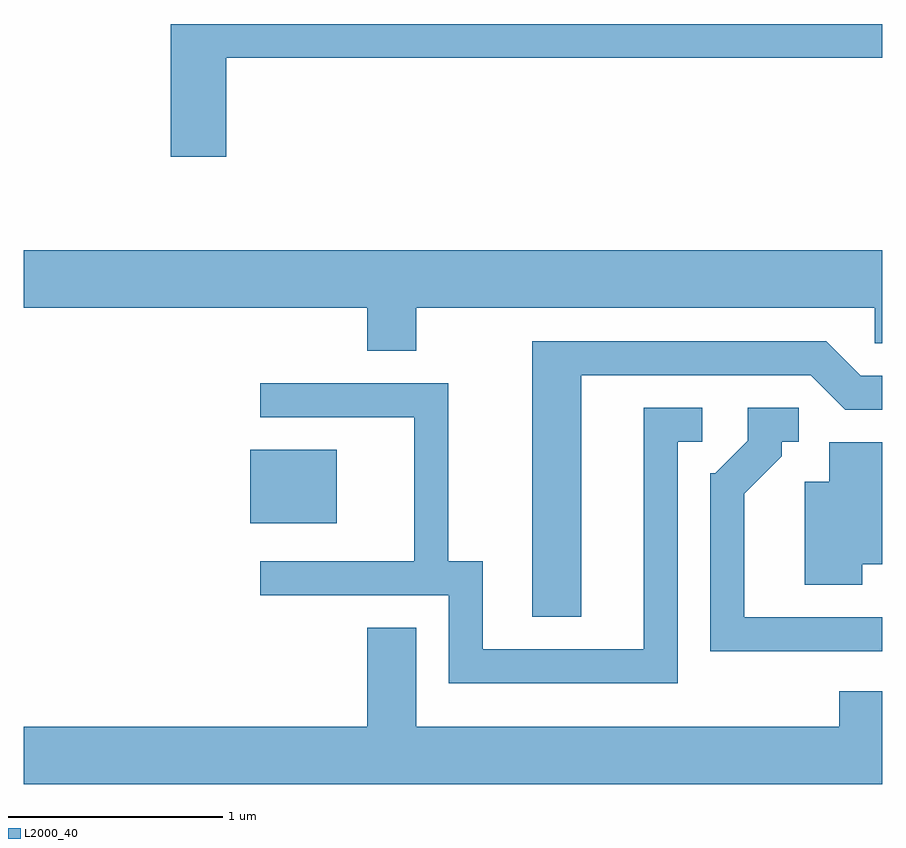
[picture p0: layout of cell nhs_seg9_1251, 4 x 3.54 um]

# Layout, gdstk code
import gdstk
lib = gdstk.Library(unit=1e-6, precision=1e-09)
def R(c, l, rs):  # rectangles x0, y0, x1, y1
    for r in rs: c.add(gdstk.rectangle(r[:2], r[2:], *l))
def P(c, l, *ps):  # polygons
    for p in ps: c.add(gdstk.Polygon(p, *l))
L2000_40 = (2000, 40)

nhs_seg9_1251 = lib.new_cell('nhs_seg9_1251')
R(nhs_seg9_1251, L2000_40, [(222.666,1999.691,223.069,2000.034)])
P(nhs_seg9_1251, L2000_40, [(222.554,2001.861),(225.611,2001.861),(225.611,2002.019),(222.296,2002.019),(222.296,2001.401),(222.554,2001.401)],
  [(223.439,2000.696),(225.576,2000.696),(225.576,2000.531),(225.611,2000.531),(225.611,2000.964),(221.611,2000.964),(221.611,2000.696),(223.211,2000.696),(223.211,2000.496),(223.439,2000.496)],
  [(224.209,2000.381),(225.279,2000.381),(225.439,2000.221),(225.611,2000.221),(225.611,2000.379),(225.512,2000.379),(225.352,2000.539),(223.981,2000.539),(223.981,1999.256),(224.209,1999.256)],
  [(224.659,2000.071),(224.773,2000.071),(224.773,2000.229),(224.501,2000.229),(224.501,1999.104),(223.749,1999.104),(223.749,1999.514),(223.589,1999.514),(223.589,2000.344),(222.713,2000.344),(222.713,2000.186),(223.431,2000.186),(223.431,1999.514),(222.713,1999.514),(222.713,1999.356),(223.591,1999.356),(223.591,1998.946),(224.659,1998.946)],
  [(225.611,1999.254),(224.969,1999.254),(224.969,1999.829),(225.144,2000.004),(225.144,2000.071),(225.223,2000.071),(225.223,2000.229),(224.986,2000.229),(224.986,2000.077),(224.834,1999.924),(224.811,1999.924),(224.811,1999.096),(225.611,1999.096)],
  [(225.519,1999.501),(225.611,1999.501),(225.611,2000.069),(225.366,2000.069),(225.366,1999.884),(225.251,1999.884),(225.251,1999.406),(225.519,1999.406)],
  [(225.611,1998.909),(225.411,1998.909),(225.411,1998.744),(223.439,1998.744),(223.439,1999.204),(223.211,1999.204),(223.211,1998.744),(221.611,1998.744),(221.611,1998.476),(225.611,1998.476)])

lib.write_gds('nhs_seg9_1251.gds')
